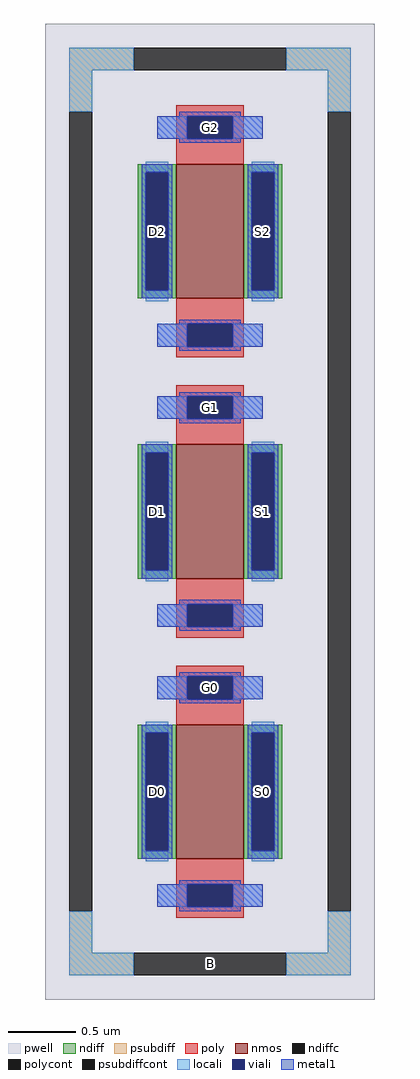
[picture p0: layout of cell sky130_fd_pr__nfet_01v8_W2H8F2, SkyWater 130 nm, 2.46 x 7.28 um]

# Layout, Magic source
magic
tech sky130A
magscale 1 2
<< pwell >>
rect -246 -728 246 728
<< nmos >>
rect -50 318 50 518
rect -50 -100 50 100
rect -50 -518 50 -318
<< ndiff >>
rect -108 506 -50 518
rect -108 330 -96 506
rect -62 330 -50 506
rect -108 318 -50 330
rect 50 506 108 518
rect 50 330 62 506
rect 96 330 108 506
rect 50 318 108 330
rect -108 88 -50 100
rect -108 -88 -96 88
rect -62 -88 -50 88
rect -108 -100 -50 -88
rect 50 88 108 100
rect 50 -88 62 88
rect 96 -88 108 88
rect 50 -100 108 -88
rect -108 -330 -50 -318
rect -108 -506 -96 -330
rect -62 -506 -50 -330
rect -108 -518 -50 -506
rect 50 -330 108 -318
rect 50 -506 62 -330
rect 96 -506 108 -330
rect 50 -518 108 -506
<< ndiffc >>
rect -96 330 -62 506
rect 62 330 96 506
rect -96 -88 -62 88
rect 62 -88 96 88
rect -96 -506 -62 -330
rect 62 -506 96 -330
<< psubdiff >>
rect -210 658 -114 692
rect 114 658 210 692
rect -210 596 -176 658
rect 176 596 210 658
rect -210 -658 -176 -596
rect 176 -658 210 -596
rect -210 -692 -114 -658
rect 114 -692 210 -658
<< psubdiffcont >>
rect -114 658 114 692
rect -210 -596 -176 596
rect 176 -596 210 596
rect -114 -692 114 -658
<< poly >>
rect -50 590 50 606
rect -50 556 -34 590
rect 34 556 50 590
rect -50 518 50 556
rect -50 280 50 318
rect -50 246 -34 280
rect 34 246 50 280
rect -50 230 50 246
rect -50 172 50 188
rect -50 138 -34 172
rect 34 138 50 172
rect -50 100 50 138
rect -50 -138 50 -100
rect -50 -172 -34 -138
rect 34 -172 50 -138
rect -50 -188 50 -172
rect -50 -246 50 -230
rect -50 -280 -34 -246
rect 34 -280 50 -246
rect -50 -318 50 -280
rect -50 -556 50 -518
rect -50 -590 -34 -556
rect 34 -590 50 -556
rect -50 -606 50 -590
<< polycont >>
rect -34 556 34 590
rect -34 246 34 280
rect -34 138 34 172
rect -34 -172 34 -138
rect -34 -280 34 -246
rect -34 -590 34 -556
<< locali >>
rect -210 658 -114 692
rect 114 658 210 692
rect -210 596 -176 658
rect 176 596 210 658
rect -79 556 -34 590
rect 34 556 79 590
rect -96 506 -62 522
rect -96 314 -62 330
rect 62 506 96 522
rect 62 314 96 330
rect -79 246 -34 280
rect 34 246 79 280
rect -79 138 -34 172
rect 34 138 79 172
rect -96 88 -62 104
rect -96 -104 -62 -88
rect 62 88 96 104
rect 62 -104 96 -88
rect -79 -172 -34 -138
rect 34 -172 79 -138
rect -79 -280 -34 -246
rect 34 -280 79 -246
rect -96 -330 -62 -314
rect -96 -522 -62 -506
rect 62 -330 96 -314
rect 62 -522 96 -506
rect -79 -590 -34 -556
rect 34 -590 79 -556
rect -210 -658 -176 -596
rect 176 -658 210 -596
rect -210 -692 -114 -658
rect 114 -692 210 -658
<< viali >>
rect -34 556 34 590
rect -96 330 -62 506
rect 62 330 96 506
rect -34 246 34 280
rect -34 138 34 172
rect -96 -88 -62 88
rect 62 -88 96 88
rect -34 -172 34 -138
rect -34 -280 34 -246
rect -96 -506 -62 -330
rect 62 -506 96 -330
rect -34 -590 34 -556
<< metal1 >>
rect -46 590 46 596
rect -79 556 -34 590
rect 34 556 79 590
rect -46 550 46 556
rect -102 506 -56 518
rect -102 330 -96 506
rect -62 330 -56 506
rect -102 318 -56 330
rect 56 506 102 518
rect 56 330 62 506
rect 96 330 102 506
rect 56 318 102 330
rect -46 280 46 286
rect -79 246 -34 280
rect 34 246 79 280
rect -46 240 46 246
rect -46 172 46 178
rect -79 138 -34 172
rect 34 138 79 172
rect -46 132 46 138
rect -102 88 -56 100
rect -102 -88 -96 88
rect -62 -88 -56 88
rect -102 -100 -56 -88
rect 56 88 102 100
rect 56 -88 62 88
rect 96 -88 102 88
rect 56 -100 102 -88
rect -46 -138 46 -132
rect -79 -172 -34 -138
rect 34 -172 79 -138
rect -46 -178 46 -172
rect -46 -246 46 -240
rect -79 -280 -34 -246
rect 34 -280 79 -246
rect -46 -286 46 -280
rect -102 -330 -56 -318
rect -102 -506 -96 -330
rect -62 -506 -56 -330
rect -102 -518 -56 -506
rect 56 -330 102 -318
rect 56 -506 62 -330
rect 96 -506 102 -330
rect 56 -518 102 -506
rect -46 -556 46 -550
rect -79 -590 -34 -556
rect 34 -590 79 -556
rect -46 -596 46 -590
<< labels >>
rlabel psubdiffcont 0 -675 0 -675 0 B
port 11 nsew
rlabel ndiffc -79 -418 -79 -418 0 D0
port 12 nsew
rlabel ndiffc 79 -418 79 -418 0 S0
port 13 nsew
rlabel polycont 0 -263 0 -263 0 G0
port 14 nsew
rlabel ndiffc -79 0 -79 0 0 D1
port 15 nsew
rlabel ndiffc 79 0 79 0 0 S1
port 16 nsew
rlabel polycont 0 155 0 155 0 G1
port 17 nsew
rlabel ndiffc -79 418 -79 418 0 D2
port 18 nsew
rlabel ndiffc 79 418 79 418 0 S2
port 19 nsew
rlabel polycont 0 573 0 573 0 G2
port 20 nsew
<< properties >>
string FIXED_BBOX -193 -675 193 675
string gencell sky130_fd_pr__nfet_01v8
string library sky130
string parameters w 1 l 0.5 m 3 nf 1 diffcov 100 polycov 100 guard 1 glc 1 grc 1 gtc 1 gbc 1 tbcov 100 rlcov 100 topc 1 botc 1 poverlap 0 doverlap 1 lmin 0.15 wmin 0.42 class mosfet compatible {sky130_fd_pr__nfet_01v8 sky130_fd_pr__nfet_01v8_lvt  sky130_fd_bs_flash__special_sonosfet_star  sky130_fd_pr__nfet_g5v0d10v5 sky130_fd_pr__nfet_05v0_nvt  sky130_fd_pr__nfet_03v3_nvt} full_metal 1 conn_gates 1 viasrc 100 viadrn 100 viagate 100 viagb 0 viagr 0 viagl 0 viagt 0 doports 1
<< end >>
